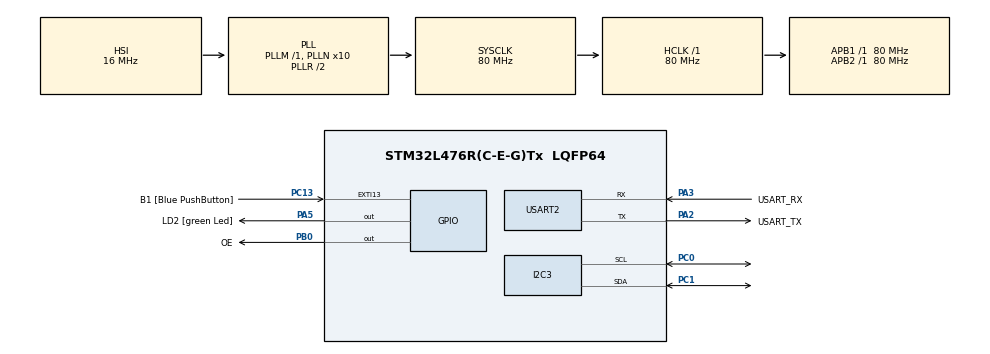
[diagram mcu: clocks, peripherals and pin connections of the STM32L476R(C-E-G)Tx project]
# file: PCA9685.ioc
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I2C3.Timing=0x10D19CE4
Mcu.Family=STM32L4
Mcu.Name=STM32L476R(C-E-G)Tx
Mcu.Package=LQFP64
NVIC.PriorityGroup=NVIC_PRIORITYGROUP_4
PA13\ (JTMS-SWDIO).GPIO_Label=TMS
PA13\ (JTMS-SWDIO).Mode=Serial_Wire
PA13\ (JTMS-SWDIO).Signal=SYS_JTMS-SWDIO
PA14\ (JTCK-SWCLK).GPIO_Label=TCK
PA14\ (JTCK-SWCLK).Mode=Serial_Wire
PA14\ (JTCK-SWCLK).Signal=SYS_JTCK-SWCLK
PA2.GPIO_Label=USART_TX
PA2.GPIO_Mode=GPIO_MODE_AF_PP
PA2.GPIO_PuPd=GPIO_NOPULL
PA2.GPIO_Speed=GPIO_SPEED_FREQ_VERY_HIGH
PA2.Mode=Asynchronous
PA2.Signal=USART2_TX
PA3.GPIO_Label=USART_RX
PA3.GPIO_Mode=GPIO_MODE_AF_PP
PA3.GPIO_PuPd=GPIO_NOPULL
PA3.GPIO_Speed=GPIO_SPEED_FREQ_VERY_HIGH
PA3.Mode=Asynchronous
PA3.Signal=USART2_RX
PA5.GPIO_Label=LD2 [green Led]
PA5.GPIO_ModeDefaultOutputPP=GPIO_MODE_OUTPUT_PP
PA5.GPIO_PuPd=GPIO_NOPULL
PA5.GPIO_Speed=GPIO_SPEED_FREQ_LOW
PA5.Signal=GPIO_Output
PB0.GPIO_Label=OE
PB0.Signal=GPIO_Output
PB3\ (JTDO-TRACESWO).GPIO_Label=SWO
PB3\ (JTDO-TRACESWO).Signal=SYS_JTDO-SWO
PC0.GPIO_Pu=GPIO_PULLUP
PC0.Mode=I2C
PC0.Signal=I2C3_SCL
PC1.GPIO_Pu=GPIO_PULLUP
PC1.Mode=I2C
PC1.Signal=I2C3_SDA
PC13.GPIO_Label=B1 [Blue PushButton]
PC13.GPIO_ModeDefaultEXTI=GPIO_MODE_IT_FALLING
PC13.GPIO_PuPd=GPIO_NOPULL
PC13.Signal=GPXTI13
PC14-OSC32_IN\ (PC14).Mode=LSE-External-Oscillator
PC14-OSC32_IN\ (PC14).Signal=RCC_OSC32_IN
PC15-OSC32_OUT\ (PC15).Mode=LSE-External-Oscillator
PC15-OSC32_OUT\ (PC15).Signal=RCC_OSC32_OUT
PH0-OSC_IN\ (PH0).Signal=RCC_OSC_IN
PH1-OSC_OUT\ (PH1).Signal=RCC_OSC_OUT
ProjectManager.HeapSize=0x200
ProjectManager.StackSize=0x400
ProjectManager.TargetToolchain=STM32CubeIDE
RCC.ADCFreq_Value=64000000
RCC.AHBFreq_Value=80000000
RCC.APB1Freq_Value=80000000
RCC.APB1TimFreq_Value=80000000
RCC.APB2Freq_Value=80000000
RCC.APB2TimFreq_Value=80000000
RCC.CortexFreq_Value=80000000
RCC.HCLKFreq_Value=80000000
RCC.HSE_VALUE=8000000
RCC.HSI_VALUE=16000000
RCC.MSI_VALUE=4000000
RCC.PLLN=10
RCC.PLLSourceVirtual=RCC_PLLSOURCE_HSI
RCC.PREFETCH_ENABLE=1
RCC.SYSCLKFreq_VALUE=80000000
RCC.SYSCLKSource=RCC_SYSCLKSOURCE_PLLCLK
RCC.USBFreq_Value=64000000
RCC.VCOOutputFreq_Value=160000000
USART2.VirtualMode-Asynchronous=VM_ASYNC
board=NUCLEO-L476RG

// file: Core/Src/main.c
/* USER CODE BEGIN Header */
/**
  ******************************************************************************
  * @file           : main.c
  * @brief          : Main program body
  ******************************************************************************
  * @attention
  *
  * Copyright (c) 2025 STMicroelectronics.
  * All rights reserved.
  *
  * This software is licensed under terms that can be found in the LICENSE file
  * in the root directory of this software component.
  * If no LICENSE file comes with this software, it is provided AS-IS.
  *
  ******************************************************************************
  */
/* USER CODE END Header */
#include "main.h"
#include "i2c.h"
#include "usart.h"
#include "gpio.h"

/* USER CODE BEGIN Includes */
#include "pca9685.h"
#include <stdbool.h>
/* USER CODE END Includes */

/* USER CODE BEGIN PV */
pca9685_handle_t pca = {
		.i2c_handle = &hi2c3,
		.device_address = PCA9685_I2C_DEFAULT_DEVICE_ADDRESS,
		.inverted = false
};
bool success = true;
uint16_t pwm = 0;
uint16_t i=0;

/* USER CODE END PV */

void SystemClock_Config(void);

int main(void)
{

  /* MCU Configuration--------------------------------------------------------*/

  /* Reset of all peripherals, Initializes the Flash interface and the Systick. */
  HAL_Init();

  /* Configure the system clock */
  SystemClock_Config();

  /* Initialize all configured peripherals */
  MX_GPIO_Init();
  MX_USART2_UART_Init();
  MX_I2C3_Init();
  /* USER CODE BEGIN 2 */
  HAL_GPIO_WritePin(GPIOA, GPIO_PIN_5, GPIO_PIN_RESET);
  success &= pca9685_init(&pca);
  success &= pca9685_set_pwm_frequency(&pca, 50.0f);
  if (success) HAL_GPIO_WritePin(GPIOA, GPIO_PIN_5, GPIO_PIN_SET);
  else HAL_GPIO_WritePin(GPIOA, GPIO_PIN_5, GPIO_PIN_RESET);

  /* USER CODE END 2 */

  /* Infinite loop */
  while (1)
  {

    /* USER CODE BEGIN 3 */
	  for (; i<4090; i+=10)
	  {
	  	success &= pca9685_set_channel_pwm_times(&pca, 5, 0, i);
	  	success &= pca9685_servo_read(&pca, 5, &pwm);
	  	HAL_Delay(250);
	  }
	  i =0;
  }
  /* USER CODE END 3 */
}

void SystemClock_Config(void)
{
  RCC_OscInitTypeDef RCC_OscInitStruct = {0};
  RCC_ClkInitTypeDef RCC_ClkInitStruct = {0};

  /** Configure the main internal regulator output voltage
  */
  if (HAL_PWREx_ControlVoltageScaling(PWR_REGULATOR_VOLTAGE_SCALE1) != HAL_OK)
  {
    Error_Handler();
  }

  /** Initializes the RCC Oscillators according to the specified parameters
  * in the RCC_OscInitTypeDef structure.
  */
  RCC_OscInitStruct.OscillatorType = RCC_OSCILLATORTYPE_HSI;
  RCC_OscInitStruct.HSIState = RCC_HSI_ON;
  RCC_OscInitStruct.HSICalibrationValue = RCC_HSICALIBRATION_DEFAULT;
  RCC_OscInitStruct.PLL.PLLState = RCC_PLL_ON;
  RCC_OscInitStruct.PLL.PLLSource = RCC_PLLSOURCE_HSI;
  RCC_OscInitStruct.PLL.PLLM = 1;
  RCC_OscInitStruct.PLL.PLLN = 10;
  RCC_OscInitStruct.PLL.PLLP = RCC_PLLP_DIV7;
  RCC_OscInitStruct.PLL.PLLQ = RCC_PLLQ_DIV2;
  RCC_OscInitStruct.PLL.PLLR = RCC_PLLR_DIV2;
  if (HAL_RCC_OscConfig(&RCC_OscInitStruct) != HAL_OK)
  {
    Error_Handler();
  }

  /** Initializes the CPU, AHB and APB buses clocks
  */
  RCC_ClkInitStruct.ClockType = RCC_CLOCKTYPE_HCLK|RCC_CLOCKTYPE_SYSCLK
                              |RCC_CLOCKTYPE_PCLK1|RCC_CLOCKTYPE_PCLK2;
  RCC_ClkInitStruct.SYSCLKSource = RCC_SYSCLKSOURCE_PLLCLK;
  RCC_ClkInitStruct.AHBCLKDivider = RCC_SYSCLK_DIV1;
  RCC_ClkInitStruct.APB1CLKDivider = RCC_HCLK_DIV1;
  RCC_ClkInitStruct.APB2CLKDivider = RCC_HCLK_DIV1;

  if (HAL_RCC_ClockConfig(&RCC_ClkInitStruct, FLASH_LATENCY_4) != HAL_OK)
  {
    Error_Handler();
  }
}

void Error_Handler(void)
{
  __disable_irq();
  while (1)
  {
  }
}
